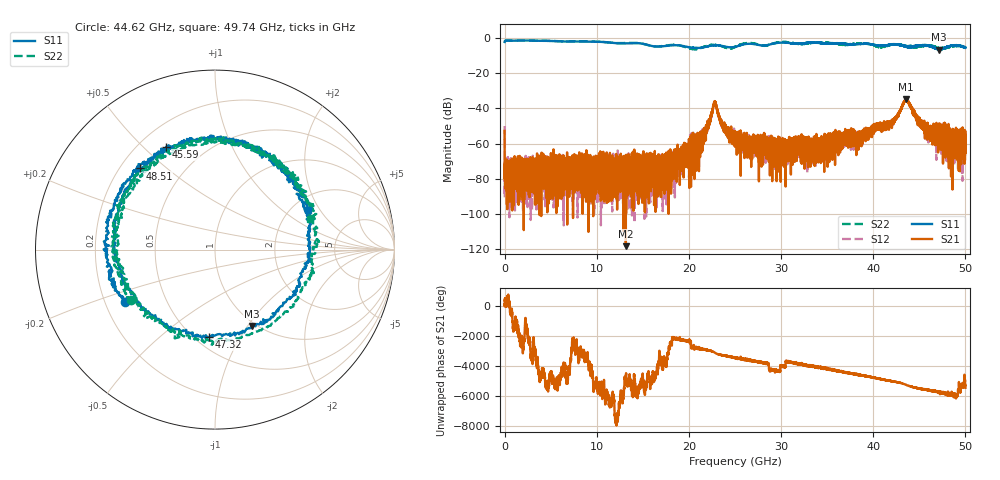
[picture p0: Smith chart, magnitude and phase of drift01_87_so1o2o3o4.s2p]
!Created with skrf (http://scikit-rf.org).
# Hz S RI R 50.0
!freq ReS11 ImS11 ReS21 ImS21 ReS12 ImS12 ReS22 ImS22
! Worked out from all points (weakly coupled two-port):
!   10001 points, 300 kHz to 50 GHz, reference 50 ohm
!   highest |S21| = -34.75 dB at 43.55 GHz (marker M1); lowest = -118.4 dB at 13.16 GHz (marker M2)
!   lowest |S11| = -6.5 dB at 47.12 GHz (marker M3), VSWR 2.78, Z = 47.8 - j52.2 ohm
!   |S11| at or under -10 dB: nowhere
!   |S22| runs from -6.4 to -1.4 dB; largest |S21 - S12| = 0.0034
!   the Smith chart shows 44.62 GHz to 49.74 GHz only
!   S11 on the Smith chart (normalised r, x): 44.62 GHz: 0.28, -0.25; 45.59 GHz: 0.31, +0.59; 47.32 GHz: 0.58, -0.74; 48.51 GHz: 0.28, +0.41; 49.74 GHz: 2.41, +1.58
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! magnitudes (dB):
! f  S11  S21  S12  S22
! 300 kHz  -2.2  -52.8  -50.0  -2.1
! 295.3 MHz  -1.4  -75.9  -75.1  -1.4
! 8.335 GHz  -1.9  -80.3  -82.1  -1.8
! 13.16 GHz  -3.0  -118.4  -76.6  -2.8
! 16.67 GHz  -4.8  -78.5  -70.6  -4.8
! 20.73 GHz  -5.6  -64.8  -62.1  -6.3
! 21.89 GHz  -4.9  -51.9  -51.2  -4.5
! 22.8 GHz  -4.3  -36.4  -36.2  -4.0
! 23.73 GHz  -4.6  -50.2  -49.0  -5.0
! 25 GHz  -5.0  -56.6  -57.1  -5.1
! 29.71 GHz  -2.7  -59.0  -61.1  -2.5
! 33.34 GHz  -2.6  -62.8  -59.4  -2.7
! 38.41 GHz  -3.4  -58.6  -56.4  -3.1
! 41.67 GHz  -3.9  -48.2  -49.1  -4.3
! 43.55 GHz  -4.9  -34.8  -35.1  -5.0
! 44.62 GHz  -4.7  -44.8  -44.1  -5.2
! 45.59 GHz  -4.0  -49.3  -51.3  -4.3
! 47.12 GHz  -6.5  -52.6  -55.3  -5.6
! 47.32 GHz  -6.2  -55.5  -57.8  -5.9
! 48.51 GHz  -4.2  -68.5  -67.0  -4.7
! 49.74 GHz  -5.0  -62.5  -56.0  -5.1
! 50 GHz  -5.5  -55.5  -57.7  -5.3
